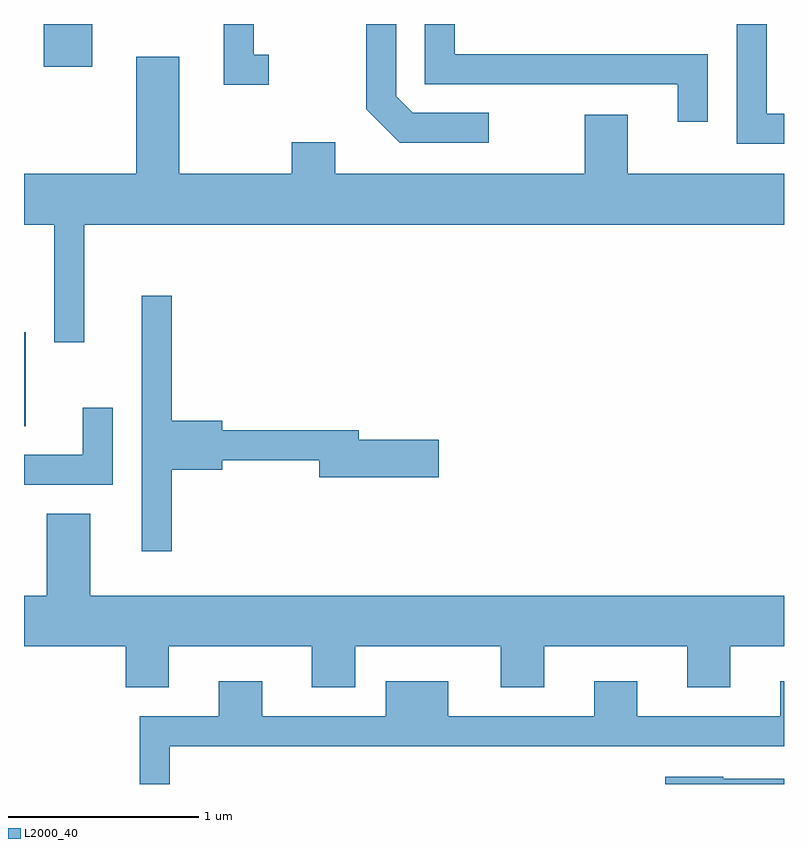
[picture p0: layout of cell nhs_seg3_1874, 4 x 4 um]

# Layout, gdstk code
import gdstk
lib = gdstk.Library(unit=1e-6, precision=1e-09)
def R(c, l, rs):  # rectangles x0, y0, x1, y1
    for r in rs: c.add(gdstk.rectangle(r[:2], r[2:], *l))
def P(c, l, *ps):  # polygons
    for p in ps: c.add(gdstk.Polygon(p, *l))
L2000_40 = (2000, 40)

nhs_seg3_1874 = lib.new_cell('nhs_seg3_1874')
R(nhs_seg3_1874, L2000_40, [(239.611,1193.776,239.619,1194.269), (239.716,1195.666,239.969,1195.892)])
P(nhs_seg3_1874, L2000_40, [(243.611,1195.419),(243.519,1195.419),(243.519,1195.892),(243.361,1195.892),(243.361,1195.261),(243.611,1195.261)],
  [(243.209,1195.734),(241.879,1195.734),(241.879,1195.892),(241.721,1195.892),(241.721,1195.576),(243.051,1195.576),(243.051,1195.378),(243.209,1195.378)],
  [(242.058,1195.424),(241.657,1195.424),(241.569,1195.512),(241.569,1195.892),(241.411,1195.892),(241.411,1195.444),(241.589,1195.266),(242.058,1195.266)],
  [(240.898,1195.729),(240.819,1195.729),(240.819,1195.892),(240.661,1195.892),(240.661,1195.571),(240.898,1195.571)],
  [(239.929,1194.836),(243.611,1194.836),(243.611,1195.104),(242.789,1195.104),(242.789,1195.414),(242.561,1195.414),(242.561,1195.104),(241.249,1195.104),(241.249,1195.269),(241.021,1195.269),(241.021,1195.104),(240.429,1195.104),(240.429,1195.719),(240.201,1195.719),(240.201,1195.104),(239.611,1195.104),(239.611,1194.836),(239.771,1194.836),(239.771,1194.218),(239.929,1194.218)],
  [(240.389,1193.546),(240.654,1193.546),(240.654,1193.596),(241.166,1193.596),(241.166,1193.506),(241.794,1193.506),(241.794,1193.704),(241.374,1193.704),(241.374,1193.754),(240.654,1193.754),(240.654,1193.804),(240.389,1193.804),(240.389,1194.463),(240.231,1194.463),(240.231,1193.118),(240.389,1193.118)],
  [(240.079,1193.873),(239.921,1193.873),(239.921,1193.624),(239.611,1193.624),(239.611,1193.466),(240.079,1193.466)],
  [(240.374,1192.616),(241.126,1192.616),(241.126,1192.401),(241.354,1192.401),(241.354,1192.616),(242.121,1192.616),(242.121,1192.401),(242.349,1192.401),(242.349,1192.616),(243.101,1192.616),(243.101,1192.401),(243.329,1192.401),(243.329,1192.616),(243.611,1192.616),(243.611,1192.884),(239.959,1192.884),(239.959,1193.314),(239.731,1193.314),(239.731,1192.884),(239.611,1192.884),(239.611,1192.616),(240.146,1192.616),(240.146,1192.401),(240.374,1192.401)],
  [(240.379,1192.091),(243.611,1192.091),(243.611,1192.434),(243.591,1192.434),(243.591,1192.249),(242.839,1192.249),(242.839,1192.434),(242.611,1192.434),(242.611,1192.249),(241.844,1192.249),(241.844,1192.434),(241.516,1192.434),(241.516,1192.249),(240.864,1192.249),(240.864,1192.434),(240.636,1192.434),(240.636,1192.249),(240.221,1192.249),(240.221,1191.892),(240.379,1191.892)],
  [(243.611,1191.919),(243.29,1191.919),(243.29,1191.929),(242.986,1191.929),(242.986,1191.892),(243.611,1191.892)])

lib.write_gds('nhs_seg3_1874.gds')
